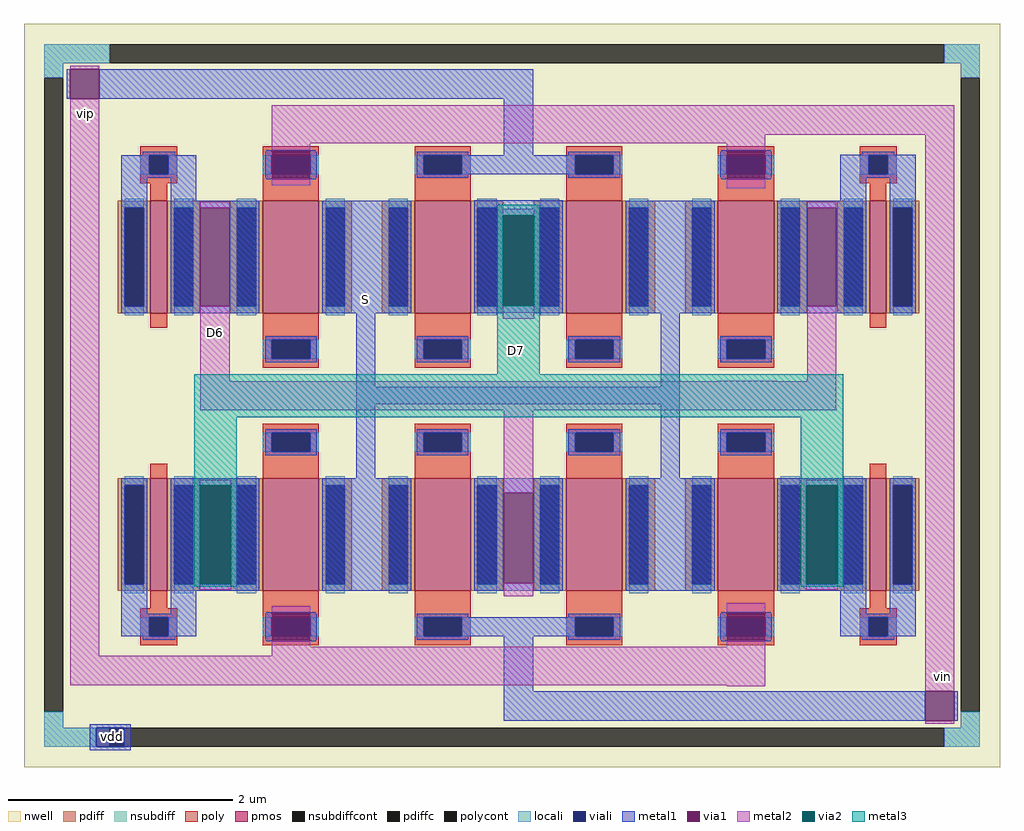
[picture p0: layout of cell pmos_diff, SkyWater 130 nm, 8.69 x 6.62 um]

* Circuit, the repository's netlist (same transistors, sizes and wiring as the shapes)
* NGSPICE file created from pmos_diff.ext - technology: sky130A

.subckt sky130_fd_pr__pfet_01v8_LA8JHL a_n73_n64# a_n33_n161# w_n109_n164# a_15_n64#
X0 a_15_n64# a_n33_n161# a_n73_n64# w_n109_n164# sky130_fd_pr__pfet_01v8 ad=0.29 pd=2.58 as=0.29 ps=2.58 w=1 l=0.15
.ends

.subckt sky130_fd_pr__pfet_01v8_MA8JHN a_15_n136# a_n33_95# a_n73_n136# w_n109_n198#
X0 a_15_n136# a_n33_95# a_n73_n136# w_n109_n198# sky130_fd_pr__pfet_01v8 ad=0.29 pd=2.58 as=0.29 ps=2.58 w=1 l=0.15
.ends

.subckt sky130_fd_pr__pfet_01v8_BHRSS5 a_n50_n197# a_50_n100# w_n144_n200# a_n108_n100#
X0 a_50_n100# a_n50_n197# a_n108_n100# w_n144_n200# sky130_fd_pr__pfet_01v8 ad=0.29 pd=2.58 as=0.29 ps=2.58 w=1 l=0.5
.ends

.subckt pmos_diff S D6 D7 vin vip vdd
Xsky130_fd_pr__pfet_01v8_LA8JHL_0 D7 D7 vdd D7 sky130_fd_pr__pfet_01v8_LA8JHL
Xsky130_fd_pr__pfet_01v8_LA8JHL_2 D7 D7 vdd D7 sky130_fd_pr__pfet_01v8_LA8JHL
Xsky130_fd_pr__pfet_01v8_MA8JHN_0 D6 D6 D6 vdd sky130_fd_pr__pfet_01v8_MA8JHN
Xsky130_fd_pr__pfet_01v8_MA8JHN_2 D6 D6 D6 vdd sky130_fd_pr__pfet_01v8_MA8JHN
Xsky130_fd_pr__pfet_01v8_BHRSS5_0 vin D6 vdd S sky130_fd_pr__pfet_01v8_BHRSS5
Xsky130_fd_pr__pfet_01v8_BHRSS5_1 vip D7 vdd S sky130_fd_pr__pfet_01v8_BHRSS5
Xsky130_fd_pr__pfet_01v8_BHRSS5_2 vip S vdd D7 sky130_fd_pr__pfet_01v8_BHRSS5
Xsky130_fd_pr__pfet_01v8_BHRSS5_3 vin S vdd D6 sky130_fd_pr__pfet_01v8_BHRSS5
Xsky130_fd_pr__pfet_01v8_BHRSS5_4 vip D7 vdd S sky130_fd_pr__pfet_01v8_BHRSS5
Xsky130_fd_pr__pfet_01v8_BHRSS5_6 vin D6 vdd S sky130_fd_pr__pfet_01v8_BHRSS5
Xsky130_fd_pr__pfet_01v8_BHRSS5_5 vip S vdd D7 sky130_fd_pr__pfet_01v8_BHRSS5
Xsky130_fd_pr__pfet_01v8_BHRSS5_7 vin S vdd D6 sky130_fd_pr__pfet_01v8_BHRSS5
.ends

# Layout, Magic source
magic
tech sky130A
magscale 1 2
<< nwell >>
rect -721 -232 1016 1091
<< nsubdiff >>
rect -685 1021 -568 1055
rect 917 1021 980 1055
rect -685 995 -651 1021
rect -685 -162 -651 -133
rect 946 995 980 1021
rect 946 -162 980 -133
rect -685 -196 -568 -162
rect 917 -196 980 -162
<< nsubdiffcont >>
rect -568 1021 917 1055
rect -685 -133 -651 995
rect 946 -133 980 995
rect -568 -196 917 -162
<< locali >>
rect -685 1021 -568 1055
rect 917 1021 980 1055
rect -685 995 -651 1021
rect 946 995 980 1021
rect -685 -162 -651 -133
rect 946 -162 980 -133
rect -685 -196 -592 -162
rect 917 -196 980 -162
<< viali >>
rect -280 823 -212 857
rect -592 -196 -568 -162
rect -568 -196 -543 -162
<< metal1 >>
rect -645 958 -639 1010
rect -587 958 185 1010
rect -548 773 -502 857
rect -460 776 -414 857
rect -290 814 -280 866
rect -212 814 -202 866
rect 133 857 185 958
rect 64 823 254 857
rect 520 814 530 866
rect 598 814 608 866
rect -460 764 -302 776
rect -460 588 -407 764
rect -355 588 -302 764
rect -460 576 -302 588
rect -190 576 -32 776
rect 80 750 238 777
rect 732 776 778 858
rect 80 589 133 750
rect 185 589 238 750
rect 80 577 238 589
rect 350 576 508 776
rect 620 764 778 776
rect 820 774 866 858
rect 620 588 673 764
rect 725 588 778 764
rect 620 576 778 588
rect -130 445 -96 576
rect 412 445 446 576
rect -130 414 446 445
rect -130 282 -96 414
rect 412 282 446 414
rect -460 270 -302 282
rect -460 94 -406 270
rect -354 94 -302 270
rect -548 1 -502 85
rect -460 82 -302 94
rect -190 82 -32 282
rect 80 256 238 282
rect 80 95 133 256
rect 185 95 238 256
rect 80 82 238 95
rect 350 82 508 282
rect 620 270 778 282
rect 620 94 673 270
rect 725 94 778 270
rect 620 82 778 94
rect -460 1 -414 82
rect -290 -8 -280 44
rect -212 -8 -202 44
rect 64 1 254 35
rect 133 -97 185 1
rect 520 -8 530 44
rect 598 -8 608 44
rect 732 1 778 82
rect 820 1 866 85
rect 133 -149 883 -97
rect 935 -149 941 -97
rect -604 -162 -531 -156
rect -604 -196 -592 -162
rect -543 -196 -531 -162
rect -604 -202 -531 -196
<< via1 >>
rect -639 958 -587 1010
rect -280 857 -212 866
rect -280 823 -212 857
rect -280 814 -212 823
rect 530 814 598 866
rect -407 588 -355 764
rect 133 589 185 750
rect 673 588 725 764
rect -406 94 -354 270
rect 133 95 185 256
rect 673 94 725 270
rect -280 -8 -212 44
rect 530 -8 598 44
rect 883 -149 935 -97
<< metal2 >>
rect -639 1010 -587 1016
rect -639 -34 -587 958
rect -280 894 935 946
rect -280 878 598 894
rect -280 866 -212 878
rect -280 804 -212 814
rect 530 866 598 878
rect 530 798 598 814
rect -407 764 -355 774
rect 673 764 725 774
rect -407 455 -355 588
rect 131 750 187 762
rect 131 566 187 589
rect 514 455 618 456
rect 673 455 725 588
rect -407 403 725 455
rect -408 270 -352 280
rect -408 84 -352 94
rect 133 256 185 403
rect 133 72 185 95
rect 671 270 727 280
rect 671 84 727 94
rect -280 44 -212 54
rect -280 -18 -212 -8
rect 530 44 598 60
rect 530 -18 598 -8
rect -280 -34 598 -18
rect -639 -86 598 -34
rect 530 -88 598 -86
rect 883 -97 935 894
rect 883 -155 935 -149
<< via2 >>
rect 131 589 133 750
rect 133 589 185 750
rect 185 589 187 750
rect -408 94 -406 270
rect -406 94 -354 270
rect -354 94 -352 270
rect 671 94 673 270
rect 673 94 725 270
rect 725 94 727 270
<< metal3 >>
rect 121 750 197 769
rect 121 589 131 750
rect 187 589 197 750
rect 121 467 197 589
rect -418 391 737 467
rect -418 270 -342 391
rect -418 94 -408 270
rect -352 94 -342 270
rect -418 89 -342 94
rect 661 270 737 391
rect 661 94 671 270
rect 727 94 737 270
rect 661 89 737 94
use sky130_fd_pr__pfet_01v8_BHRSS5  sky130_fd_pr__pfet_01v8_BHRSS5_0
transform 1 0 24 0 1 182
box -144 -200 144 200
use sky130_fd_pr__pfet_01v8_BHRSS5  sky130_fd_pr__pfet_01v8_BHRSS5_1
transform 1 0 564 0 1 182
box -144 -200 144 200
use sky130_fd_pr__pfet_01v8_BHRSS5  sky130_fd_pr__pfet_01v8_BHRSS5_2
transform 1 0 -246 0 1 182
box -144 -200 144 200
use sky130_fd_pr__pfet_01v8_BHRSS5  sky130_fd_pr__pfet_01v8_BHRSS5_3
transform 1 0 -246 0 1 676
box -144 -200 144 200
use sky130_fd_pr__pfet_01v8_BHRSS5  sky130_fd_pr__pfet_01v8_BHRSS5_4
transform 1 0 24 0 1 676
box -144 -200 144 200
use sky130_fd_pr__pfet_01v8_BHRSS5  sky130_fd_pr__pfet_01v8_BHRSS5_5
transform 1 0 294 0 1 676
box -144 -200 144 200
use sky130_fd_pr__pfet_01v8_BHRSS5  sky130_fd_pr__pfet_01v8_BHRSS5_6
transform 1 0 564 0 1 676
box -144 -200 144 200
use sky130_fd_pr__pfet_01v8_BHRSS5  sky130_fd_pr__pfet_01v8_BHRSS5_7
transform 1 0 294 0 1 182
box -144 -200 144 200
use sky130_fd_pr__pfet_01v8_LA8JHL  sky130_fd_pr__pfet_01v8_LA8JHL_0
transform 1 0 -481 0 1 146
box -109 -164 109 198
use sky130_fd_pr__pfet_01v8_LA8JHL  sky130_fd_pr__pfet_01v8_LA8JHL_2
transform 1 0 799 0 1 146
box -109 -164 109 198
use sky130_fd_pr__pfet_01v8_MA8JHN  sky130_fd_pr__pfet_01v8_MA8JHN_0
transform 1 0 -481 0 1 712
box -109 -198 109 164
use sky130_fd_pr__pfet_01v8_MA8JHN  sky130_fd_pr__pfet_01v8_MA8JHN_2
transform 1 0 799 0 1 712
box -109 -198 109 164
<< labels >>
flabel metal2 -380 542 -380 542 0 FreeSans 320 0 0 0 D6
port 2 nsew
flabel metal3 156 509 156 509 0 FreeSans 320 0 0 0 D7
port 3 nsew
flabel metal2 913 -71 913 -71 0 FreeSans 320 0 0 0 vin
port 4 nsew
flabel metal2 -611 931 -611 931 0 FreeSans 320 0 0 0 vip
port 5 nsew
flabel metal1 -113 601 -113 601 0 FreeSans 320 0 0 0 S
port 1 nsew
flabel viali -563 -178 -563 -178 0 FreeSans 320 0 0 0 vdd
port 6 nsew
<< end >>

# cell sky130_fd_pr__pfet_01v8_BHRSS5: kit device sky130_fd_pr__pfet_01v8, w 1 l 0.5 m 1 nf 1 diffcov 100 polycov 100 guard 0 glc 1 grc 1 gtc 1 gbc 1 tbcov 100 rlcov 100 topc 1 botc 1 poverlap 0 doverlap 1 lmin 0.15 wmin 0.42 compatible {sky130_fd_pr__pfet_01v8 sky130_fd_pr__pfet_01v8_lvt sky130_fd_pr__pfet_01v8_hvt sky130_fd_pr__pfet_g5v0d10v5} full_metal 1 viasrc 100 viadrn 100 viagate 100 viagb 0 viagr 0 viagl 0 viagt 0

# cell sky130_fd_pr__pfet_01v8_LA8JHL: kit device sky130_fd_pr__pfet_01v8, w 1 l 0.15 m 1 nf 1 diffcov 100 polycov 100 guard 0 glc 1 grc 1 gtc 1 gbc 1 tbcov 100 rlcov 100 topc 0 botc 1 poverlap 0 doverlap 1 lmin 0.15 wmin 0.42 compatible {sky130_fd_pr__pfet_01v8 sky130_fd_pr__pfet_01v8_lvt sky130_fd_pr__pfet_01v8_hvt sky130_fd_pr__pfet_g5v0d10v5} full_metal 1 viasrc 100 viadrn 100 viagate 100 viagb 0 viagr 0 viagl 0 viagt 0

# cell sky130_fd_pr__pfet_01v8_MA8JHN: kit device sky130_fd_pr__pfet_01v8, w 1 l 0.15 m 1 nf 1 diffcov 100 polycov 100 guard 0 glc 1 grc 1 gtc 1 gbc 1 tbcov 100 rlcov 100 topc 1 botc 0 poverlap 0 doverlap 1 lmin 0.15 wmin 0.42 compatible {sky130_fd_pr__pfet_01v8 sky130_fd_pr__pfet_01v8_lvt sky130_fd_pr__pfet_01v8_hvt sky130_fd_pr__pfet_g5v0d10v5} full_metal 1 viasrc 100 viadrn 100 viagate 100 viagb 0 viagr 0 viagl 0 viagt 0
